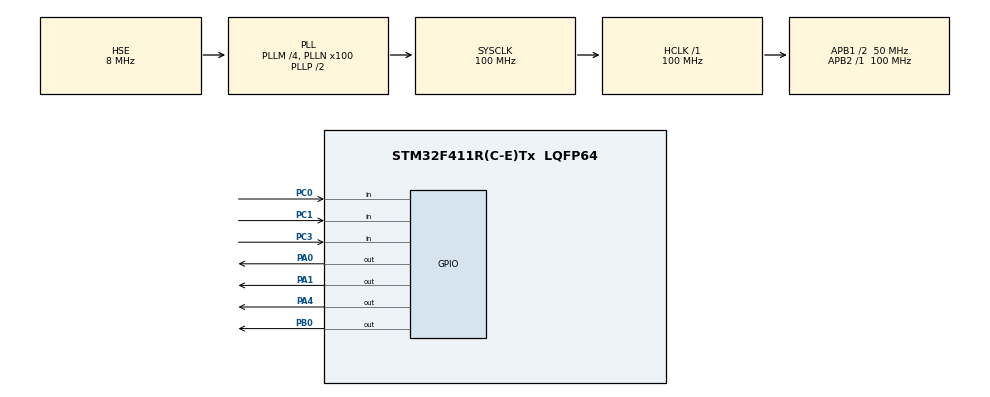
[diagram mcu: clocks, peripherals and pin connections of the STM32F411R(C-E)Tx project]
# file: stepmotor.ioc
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Mcu.Family=STM32F4
Mcu.Name=STM32F411R(C-E)Tx
Mcu.Package=LQFP64
NVIC.PriorityGroup=NVIC_PRIORITYGROUP_4
NVIC.TIM1_BRK_TIM9_IRQn=true\:0\:0\:false\:false\:true\:true\:true\:true
PA0-WKUP.Signal=GPIO_Output
PA1.Signal=GPIO_Output
PA13.Mode=Serial_Wire
PA13.Signal=SYS_JTMS-SWDIO
PA14.Mode=Serial_Wire
PA14.Signal=SYS_JTCK-SWCLK
PA4.Signal=GPIO_Output
PB0.Signal=GPIO_Output
PC0.Signal=GPIO_Input
PC1.Signal=GPIO_Input
PC3.Signal=GPIO_Input
PH0\ -\ OSC_IN.Mode=HSE-External-Oscillator
PH0\ -\ OSC_IN.Signal=RCC_OSC_IN
PH1\ -\ OSC_OUT.Mode=HSE-External-Oscillator
PH1\ -\ OSC_OUT.Signal=RCC_OSC_OUT
ProjectManager.HeapSize=0x200
ProjectManager.StackSize=0x400
ProjectManager.TargetToolchain=STM32CubeIDE
RCC.48MHZClocksFreq_Value=50000000
RCC.AHBFreq_Value=100000000
RCC.APB1CLKDivider=RCC_HCLK_DIV2
RCC.APB1Freq_Value=50000000
RCC.APB1TimFreq_Value=100000000
RCC.APB2Freq_Value=100000000
RCC.APB2TimFreq_Value=100000000
RCC.CortexFreq_Value=100000000
RCC.HCLKFreq_Value=100000000
RCC.HSE_VALUE=8000000
RCC.HSI_VALUE=16000000
RCC.LSE_VALUE=32768
RCC.PLLM=4
RCC.PLLN=100
RCC.PLLSourceVirtual=RCC_PLLSOURCE_HSE
RCC.SYSCLKFreq_VALUE=100000000
RCC.SYSCLKSource=RCC_SYSCLKSOURCE_PLLCLK
RCC.VCOOutputFreq_Value=200000000
TIM9.AutoReloadPreload=TIM_AUTORELOAD_PRELOAD_ENABLE
TIM9.Period=1000-1
TIM9.Prescaler=100-1
VP_TIM9_VS_ClockSourceINT.Mode=Internal
board=custom

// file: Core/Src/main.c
/* USER CODE BEGIN Header */
/**
 ******************************************************************************
 * @file           : main.c
 * @brief          : Main program body
 ******************************************************************************
 * @attention
 *
 * Copyright (c) 2026 STMicroelectronics.
 * All rights reserved.
 *
 * This software is licensed under terms that can be found in the LICENSE file
 * in the root directory of this software component.
 * If no LICENSE file comes with this software, it is provided AS-IS.
 *
 ******************************************************************************
 */
/* USER CODE END Header */
#include "main.h"

/* USER CODE BEGIN Includes */
#include "driver/stepmotor/stepmotor.h"
#include "driver/button/button.h"

/* USER CODE END Includes */

TIM_HandleTypeDef htim9;

void SystemClock_Config(void);
static void MX_GPIO_Init(void);
static void MX_TIM9_Init(void);

/* USER CODE BEGIN 0 */

static button_t btn_up;
static button_t btn_down;

stepMotor_pin_t stepMotorSecPins[4] = { { GPIOA, GPIO_PIN_0 }, // orange
		{ GPIOA, GPIO_PIN_1 }, // yellow
		{ GPIOA, GPIO_PIN_4 }, // pink
		{ GPIOB, GPIO_PIN_0 }  // blue
};

stepMotor_pin_t stepMotorMinPins[4] = { { GPIOA, GPIO_PIN_0 }, // orange
		{ GPIOA, GPIO_PIN_1 }, // yellow
		{ GPIOA, GPIO_PIN_4 }, // pink
		{ GPIOB, GPIO_PIN_0 }  // blue
};

stepMotor_pin_t stepMotorHourPins[4] = { { GPIOA, GPIO_PIN_0 }, // orange
		{ GPIOA, GPIO_PIN_1 }, // yellow
		{ GPIOA, GPIO_PIN_4 }, // pink
		{ GPIOB, GPIO_PIN_0 }  // blue
};

stepMotor_t stepMotors[3] = { { stepMotorSecPins, 0 }, { stepMotorMinPins, 0 },
		{ stepMotorHourPins, 0 } };

volatile uint8_t isrFlag = 0;
void ClockNeedle_setFlag(void) {
	isrFlag = 1;

}

void ClockNeedle_clearFlag(void) {
	isrFlag = 0;

}

void ClockNeedle_ISR(void) {
	ClockNeedle_setFlag();
}

void ClockNeedle_task(void) {
	if (!isrFlag) {
		return;
	}
	ClockNeedle_clearFlag();
	StepMotor_stepPhase(&stepMotors[SEC], STEPMOTOR_DIR_CW);
}

void HAL_TIM_PeriodElapsedCallback(TIM_HandleTypeDef *htim) {
	/* Prevent unused argument(s) compilation warning */
	if (htim->Instance == TIM9) {
		ClockNeedle_ISR();
	}
}

/* USER CODE END 0 */

int main(void) {

	/* MCU Configuration--------------------------------------------------------*/

	/* Reset of all peripherals, Initializes the Flash interface and the Systick. */
	HAL_Init();

	/* Configure the system clock */
	SystemClock_Config();

	/* Initialize all configured peripherals */
	MX_GPIO_Init();
	MX_TIM9_Init();
	/* USER CODE BEGIN 2 */
	HAL_TIM_Base_Start_IT(&htim9); // tim9 시작
	button_init(&btn_up, GPIOC, GPIO_PIN_1);
	button_init(&btn_down, GPIOC, GPIO_PIN_3);

	/* USER CODE END 2 */

	/* Infinite loop */
	/* USER CODE BEGIN WHILE */
	while (1) {
		ClockNeedle_task();
		if (button_getState(&btn_up) == ACT_RELEASE) {
			__HAL_TIM_SET_AUTORELOAD(&htim9, 1000 - 1);
		} else if (button_getState(&btn_down) == ACT_RELEASE) {
			__HAL_TIM_SET_AUTORELOAD(&htim9, 2000 - 1);
		}
	}
	/* USER CODE END WHILE */

}

void SystemClock_Config(void) {
	RCC_OscInitTypeDef RCC_OscInitStruct = { 0 };
	RCC_ClkInitTypeDef RCC_ClkInitStruct = { 0 };

	/** Configure the main internal regulator output voltage
	 */
	__HAL_RCC_PWR_CLK_ENABLE();
	__HAL_PWR_VOLTAGESCALING_CONFIG(PWR_REGULATOR_VOLTAGE_SCALE1);

	/** Initializes the RCC Oscillators according to the specified parameters
	 * in the RCC_OscInitTypeDef structure.
	 */
	RCC_OscInitStruct.OscillatorType = RCC_OSCILLATORTYPE_HSE;
	RCC_OscInitStruct.HSEState = RCC_HSE_ON;
	RCC_OscInitStruct.PLL.PLLState = RCC_PLL_ON;
	RCC_OscInitStruct.PLL.PLLSource = RCC_PLLSOURCE_HSE;
	RCC_OscInitStruct.PLL.PLLM = 4;
	RCC_OscInitStruct.PLL.PLLN = 100;
	RCC_OscInitStruct.PLL.PLLP = RCC_PLLP_DIV2;
	RCC_OscInitStruct.PLL.PLLQ = 4;
	if (HAL_RCC_OscConfig(&RCC_OscInitStruct) != HAL_OK) {
		Error_Handler();
	}

	/** Initializes the CPU, AHB and APB buses clocks
	 */
	RCC_ClkInitStruct.ClockType = RCC_CLOCKTYPE_HCLK | RCC_CLOCKTYPE_SYSCLK
			| RCC_CLOCKTYPE_PCLK1 | RCC_CLOCKTYPE_PCLK2;
	RCC_ClkInitStruct.SYSCLKSource = RCC_SYSCLKSOURCE_PLLCLK;
	RCC_ClkInitStruct.AHBCLKDivider = RCC_SYSCLK_DIV1;
	RCC_ClkInitStruct.APB1CLKDivider = RCC_HCLK_DIV2;
	RCC_ClkInitStruct.APB2CLKDivider = RCC_HCLK_DIV1;

	if (HAL_RCC_ClockConfig(&RCC_ClkInitStruct, FLASH_LATENCY_3) != HAL_OK) {
		Error_Handler();
	}
}

static void MX_TIM9_Init(void) {

	TIM_ClockConfigTypeDef sClockSourceConfig = { 0 };

	htim9.Instance = TIM9;
	htim9.Init.Prescaler = 100 - 1;
	htim9.Init.CounterMode = TIM_COUNTERMODE_UP;
	htim9.Init.Period = 1000 - 1;
	htim9.Init.ClockDivision = TIM_CLOCKDIVISION_DIV1;
	htim9.Init.AutoReloadPreload = TIM_AUTORELOAD_PRELOAD_ENABLE;
	if (HAL_TIM_Base_Init(&htim9) != HAL_OK) {
		Error_Handler();
	}
	sClockSourceConfig.ClockSource = TIM_CLOCKSOURCE_INTERNAL;
	if (HAL_TIM_ConfigClockSource(&htim9, &sClockSourceConfig) != HAL_OK) {
		Error_Handler();
	}

}

static void MX_GPIO_Init(void) {
	GPIO_InitTypeDef GPIO_InitStruct = { 0 };

	/* GPIO Ports Clock Enable */
	__HAL_RCC_GPIOH_CLK_ENABLE();
	__HAL_RCC_GPIOC_CLK_ENABLE();
	__HAL_RCC_GPIOA_CLK_ENABLE();
	__HAL_RCC_GPIOB_CLK_ENABLE();

	/*Configure GPIO pin Output Level */
	HAL_GPIO_WritePin(GPIOA, GPIO_PIN_0 | GPIO_PIN_1 | GPIO_PIN_4,
			GPIO_PIN_RESET);

	/*Configure GPIO pin Output Level */
	HAL_GPIO_WritePin(GPIOB, GPIO_PIN_0, GPIO_PIN_RESET);

	/*Configure GPIO pins : PC0 PC1 PC3 */
	GPIO_InitStruct.Pin = GPIO_PIN_0 | GPIO_PIN_1 | GPIO_PIN_3;
	GPIO_InitStruct.Mode = GPIO_MODE_INPUT;
	GPIO_InitStruct.Pull = GPIO_NOPULL;
	HAL_GPIO_Init(GPIOC, &GPIO_InitStruct);

	/*Configure GPIO pins : PA0 PA1 PA4 */
	GPIO_InitStruct.Pin = GPIO_PIN_0 | GPIO_PIN_1 | GPIO_PIN_4;
	GPIO_InitStruct.Mode = GPIO_MODE_OUTPUT_PP;
	GPIO_InitStruct.Pull = GPIO_NOPULL;
	GPIO_InitStruct.Speed = GPIO_SPEED_FREQ_LOW;
	HAL_GPIO_Init(GPIOA, &GPIO_InitStruct);

	/*Configure GPIO pin : PB0 */
	GPIO_InitStruct.Pin = GPIO_PIN_0;
	GPIO_InitStruct.Mode = GPIO_MODE_OUTPUT_PP;
	GPIO_InitStruct.Pull = GPIO_NOPULL;
	GPIO_InitStruct.Speed = GPIO_SPEED_FREQ_LOW;
	HAL_GPIO_Init(GPIOB, &GPIO_InitStruct);

}

void Error_Handler(void) {
	__disable_irq();
	while (1) {
	}
}
